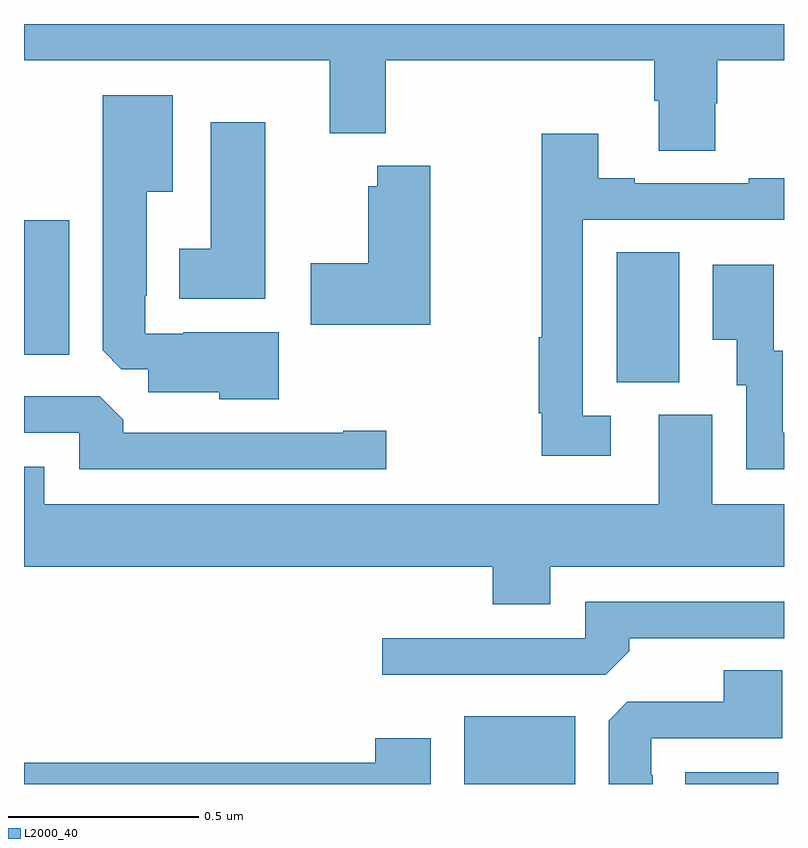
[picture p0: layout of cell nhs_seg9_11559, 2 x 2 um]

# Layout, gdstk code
import gdstk
lib = gdstk.Library(unit=1e-6, precision=1e-09)
def R(c, l, rs):  # rectangles x0, y0, x1, y1
    for r in rs: c.add(gdstk.rectangle(r[:2], r[2:], *l))
def P(c, l, *ps):  # polygons
    for p in ps: c.add(gdstk.Polygon(p, *l))
L2000_40 = (2000, 40)

nhs_seg9_11559 = lib.new_cell('nhs_seg9_11559')
R(nhs_seg9_11559, L2000_40, [(258.158,1210.5,258.451,1210.678), (258.74,1210.5,258.985,1210.531), (258.56,1211.557,258.724,1211.9), (257,1211.63,257.119,1211.983)])
P(nhs_seg9_11559, L2000_40, [(258.819,1212.291),(258.824,1212.291),(258.824,1212.404),(259,1212.404),(259,1212.5),(257,1212.5),(257,1212.404),(257.804,1212.404),(257.804,1212.212),(257.952,1212.212),(257.952,1212.404),(258.659,1212.404),(258.659,1212.298),(258.671,1212.298),(258.671,1212.166),(258.819,1212.166)],
  [(257.671,1211.689),(257.419,1211.689),(257.419,1211.685),(257.319,1211.685),(257.319,1211.785),(257.323,1211.785),(257.323,1212.059),(257.392,1212.059),(257.392,1212.313),(257.207,1212.313),(257.207,1211.641),(257.256,1211.592),(257.327,1211.592),(257.327,1211.531),(257.514,1211.531),(257.514,1211.513),(257.671,1211.513)],
  [(257.635,1212.241),(257.492,1212.241),(257.492,1211.908),(257.408,1211.908),(257.408,1211.777),(257.635,1211.777)],
  [(258.544,1211.469),(258.471,1211.469),(258.471,1211.985),(259,1211.985),(259,1212.094),(258.907,1212.094),(258.907,1212.081),(258.607,1212.081),(258.607,1212.094),(258.511,1212.094),(258.511,1212.211),(258.363,1212.211),(258.363,1211.676),(258.355,1211.676),(258.355,1211.476),(258.363,1211.476),(258.363,1211.364),(258.544,1211.364)],
  [(258.069,1212.127),(257.929,1212.127),(257.929,1212.073),(257.906,1212.073),(257.906,1211.871),(257.754,1211.871),(257.754,1211.708),(258.069,1211.708)],
  [(259,1211.424),(258.997,1211.424),(258.997,1211.64),(258.973,1211.64),(258.973,1211.866),(258.812,1211.866),(258.812,1211.669),(258.875,1211.669),(258.875,1211.55),(258.9,1211.55),(258.9,1211.328),(259,1211.328)],
  [(257.953,1211.429),(257.84,1211.429),(257.84,1211.424),(257.261,1211.424),(257.261,1211.458),(257.199,1211.52),(257,1211.52),(257,1211.424),(257.145,1211.424),(257.145,1211.328),(257.953,1211.328)],
  [(257,1211.335),(257,1211.072),(258.233,1211.072),(258.233,1210.973),(258.385,1210.973),(258.385,1211.072),(259,1211.072),(259,1211.236),(258.811,1211.236),(258.811,1211.472),(258.671,1211.472),(258.671,1211.236),(257.053,1211.236),(257.053,1211.335)],
  [(258.593,1210.85),(258.593,1210.884),(259,1210.884),(259,1210.98),(258.477,1210.98),(258.477,1210.884),(257.943,1210.884),(257.943,1210.788),(258.531,1210.788)],
  [(258.655,1210.523),(258.651,1210.523),(258.651,1210.62),(258.995,1210.62),(258.995,1210.799),(258.842,1210.799),(258.842,1210.716),(258.588,1210.716),(258.539,1210.667),(258.539,1210.5),(258.655,1210.5)],
  [(258.07,1210.621),(257.924,1210.621),(257.924,1210.556),(257,1210.556),(257,1210.5),(258.07,1210.5)])

lib.write_gds('nhs_seg9_11559.gds')
